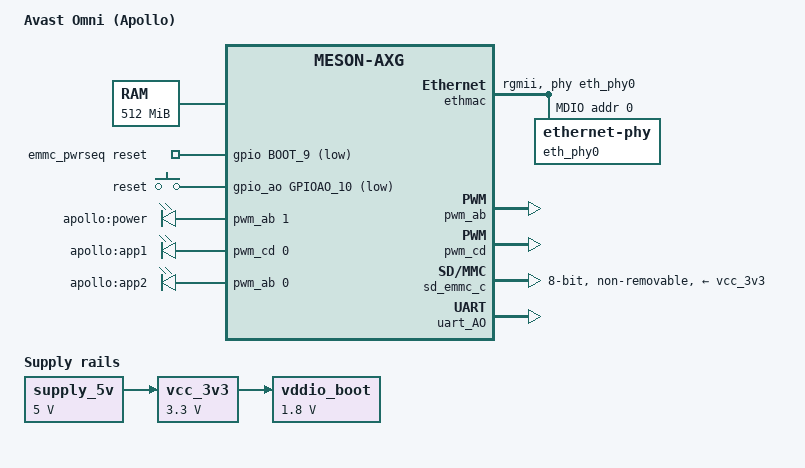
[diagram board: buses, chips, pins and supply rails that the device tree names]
// SPDX-License-Identifier: (GPL-2.0+ OR MIT)
/*
 * Avast Omni  --  Amlogic A113D (meson-axg), 512 MiB, eMMC, 1x RGMII GbE.
 *
 * Copyright (c) 2018 BayLibre SAS.  All rights reserved.
 * Copyright (c) 2019 Avast Software s.r.o.
 * Copyright (c) 2026 Omni firmware maintainers.
 *
 * Mainline (v6.12+) port of the downstream 5.4 vendor DTS that lived in
 * meta-apollo as recipes-kernel/linux/files/0001..0014.  The port folds in:
 *
 *   0001  the board itself (derived from meson-axg-s400.dts)
 *   0002  eMMC max-frequency 180 MHz -> 200 MHz
 *   0003  RTL8211F PHY interrupt on gpio_intc line 98
 *   0004  drop the "-evt0" suffix (board name / compatible)
 *   0012  pstore/ramoops reservation
 *
 * and deliberately DROPS:
 *
 *   0005  "DOWNSTREAM: apollo: leds: Set initial brightness level" -- it added
 *         a non-standard "brightness" property plus a driver hack in
 *         leds-pwm.c / include/linux/leds_pwm.h.  leds_pwm.h no longer exists
 *         upstream.  The mainline equivalent is default-state = "on", which
 *         leds-pwm.c honours via led_init_default_state_get() (v6.12,
 *         drivers/leds/leds-pwm.c:164) by seeding cdev.brightness with
 *         max-brightness before the first led_pwm_set().
 *   0006/0014  snps,force_thresh_dma_mode / snps,pbl / rx-fifo-depth /
 *         tx-fifo-depth on &ethmac.  snps,pbl was written as a *string*
 *         ("32") but stmmac reads it with of_property_read_u32(), so it never
 *         took effect at all; and mainline meson-axg.dtsi already carries the
 *         identical rx-fifo-depth = <4096> / tx-fifo-depth = <2048> on the
 *         &ethmac node itself (v6.12 meson-axg.dtsi:291-292).  Re-adding them
 *         here would be a no-op at best and a divergence to maintain at worst.
 *
 * Boot contract (do not break):  U-Boot 2018.09 + Mender A/B loads
 * /boot/Image, /boot/meson-axg-apollo.dtb and the initramfs from *inside* the
 * selected rootfs slot, so this file MUST keep producing a DTB named
 * meson-axg-apollo.dtb (mender_dtb_name).  Renaming the file renames the DTB
 * and bricks both slots.
 */

/dts-v1/;

#include "meson-axg.dtsi"

/*
 * meson-axg.dtsi already pulls in gpio.h, meson-axg-gpio.h and irq.h, but
 * every macro used below is spelled out here so this file stands on its own
 * and so a future dtsi refactor cannot silently remove a definition.
 */
#include <dt-bindings/gpio/gpio.h>		/* GPIO_ACTIVE_LOW */
#include <dt-bindings/gpio/meson-axg-gpio.h>	/* BOOT_9, GPIOAO_10 */
#include <dt-bindings/input/input.h>		/* KEY_RESTART */
#include <dt-bindings/interrupt-controller/irq.h>/* IRQ_TYPE_LEVEL_LOW */
#include <dt-bindings/thermal/thermal.h>	/* THERMAL_NO_LIMIT */

/ {
	compatible = "avast,apollo", "amlogic,a113d", "amlogic,meson-axg";
	model = "Avast Omni (Apollo)";

	aliases {
		serial0 = &uart_AO;

		/*
		 * ethernet0 is LOAD-BEARING.  Two independent consumers:
		 *
		 *  1. U-Boot's fdt_fixup_ethernet() walks /aliases looking for
		 *     "ethernetN" and injects ${ethaddr} into that node as
		 *     local-mac-address / mac-address.  The stored ethaddr is
		 *     the only copy of this unit's MAC (the check_env self-heal
		 *     in the vendor U-Boot is dead code), and
		 *     CONFIG_NET_RANDOM_ETHADDR means losing it gives a fresh
		 *     random MAC every boot.  Drop this alias and the MAC stops
		 *     being injected.
		 *
		 *  2. systemd-udevd's DT-based interface naming (net naming
		 *     scheme v251+) reads the same alias, which is why the NIC
		 *     comes up as "end0" on Debian trixie instead of the "eth0"
		 *     that Yocto/systemd 250 produced.  That rename is expected
		 *     -- handle it in userland (.link file / Name=e*), never by
		 *     removing this alias.
		 */
		ethernet0 = &ethmac;
	};

	chosen {
		stdout-path = "serial0:115200n8";
	};

	memory@0 {
		device_type = "memory";
		reg = <0x0 0x0 0x0 0x20000000>;	/* 512 MiB */
	};

	reserved-memory {
		/*
		 * Same cell layout as the reserved-memory node in
		 * meson-axg.dtsi (v6.12:139-155); restated so this fragment is
		 * readable on its own.  dtc merges it with the dtsi node.
		 */
		#address-cells = <2>;
		#size-cells = <2>;
		ranges;

		/*
		 * pstore/ramoops backing store (was patch 0012).
		 *
		 * The downstream node was named ramoops@f9800000 while its reg
		 * said 0x0f400000 -- the name was simply wrong (and collided,
		 * by name, with the pcieA@f9800000 address).  Renamed to match
		 * the reg, which is what the unit-address is *for*.
		 *
		 * Deliberately NOT "no-map": ramoops persists a kernel log
		 * across a reset by writing to this RAM with memcpy from the
		 * linear map.  no-map would remove it from the kernel's direct
		 * mapping and ramoops would then have to ioremap it as device
		 * memory; on arm64 unaligned/ordering behaviour there differs
		 * and the region must stay normal cached memory.  Not
		 * "reusable" either -- that is a CMA-style property and would
		 * let the page allocator hand this range out.
		 *
		 * 0x0f400000 + 0x10000 = 0x0f410000, comfortably inside the
		 * 512 MiB of DRAM and clear of hwrom@0 (0..0x1000000) and
		 * secmon@5000000 (0x5000000..0x5300000).
		 */
		ramoops@f400000 {
			compatible = "ramoops";
			reg = <0x0 0x0f400000 0x0 0x10000>;
			record-size = <0x4000>;
			console-size = <0x0>;
		};
	};

	emmc_pwrseq: emmc-pwrseq {
		compatible = "mmc-pwrseq-emmc";
		reset-gpios = <&gpio BOOT_9 GPIO_ACTIVE_LOW>;
	};

	/*
	 * Recovery / factory-reset button.
	 *
	 * "gpio-keys-polled", NOT "gpio-keys", and that is not a style choice:
	 *
	 *  - drivers/pinctrl/meson/pinctrl-meson.c never populates
	 *    gpio_chip.to_irq and never registers a gpio_irq_chip, so
	 *    gpiod_to_irq() on any &gpio / &gpio_ao line returns -ENXIO
	 *    (drivers/gpio/gpiolib.c:3655-3673, v6.12).  Plain gpio-keys with
	 *    only a "gpios" property therefore fails to probe with
	 *    "Unable to get irq number for GPIO".
	 *
	 *  - Adding interrupt-parent/interrupts does not rescue it either:
	 *    gpio_keys_setup_key() unconditionally requests
	 *    IRQF_TRIGGER_RISING | IRQF_TRIGGER_FALLING whenever a gpiod is
	 *    present (drivers/input/keyboard/gpio_keys.c:600), i.e.
	 *    IRQ_TYPE_EDGE_BOTH, and meson8_gpio_irq_set_type() rejects
	 *    EDGE_BOTH with -EINVAL because axg_params has
	 *    support_edge_both = false (drivers/irqchip/irq-meson-gpio.c:135,
	 *    :322-324).  request_irq() then fails.
	 *
	 * That is exactly why every mainline Amlogic board (khadas-vim,
	 * khadas-vim2/3, radxa-zero2, ...) uses gpio-keys-polled for its
	 * button.  Armbian's meson64 config ships CONFIG_KEYBOARD_GPIO_POLLED=y.
	 *
	 * If an interrupt-driven button is ever actually needed, the working
	 * form is a child with NO "gpios" and only
	 *     interrupt-parent = <&gpio_intc>;
	 *     interrupts = <10 IRQ_TYPE_EDGE_FALLING>;
	 * (hwirq 10 == GPIOAO_10: pinctrl-meson-axg.c:1017 declares
	 * BANK("AO", GPIOAO_0, GPIOAO_13, 0, 13, ...), i.e. irq_first = 0).
	 * That path reports press-with-auto-release and cannot read the pin.
	 *
	 * Note this button is *also* sampled by U-Boot directly from the pad
	 * register (setexpr button *0xff800028 & 0x400) before Linux runs, to
	 * divert the boot to the p7 recovery slot.  Nothing Linux does here
	 * affects that.
	 */
	gpio-keys-polled {
		compatible = "gpio-keys-polled";
		poll-interval = <100>;

		button-reset {
			label = "reset";
			linux,code = <KEY_RESTART>;
			gpios = <&gpio_ao GPIOAO_10 GPIO_ACTIVE_LOW>;
			debounce-interval = <50>;
		};
	};

	/*
	 * Front-panel LEDs.
	 *
	 * The three "label" strings are an ABI, not decoration: the initramfs
	 * and the userland both poke
	 *   /sys/class/leds/apollo:power/brightness
	 *   /sys/class/leds/apollo:app1/brightness
	 *   /sys/class/leds/apollo:app2/brightness
	 * led_compose_name() copies props.label verbatim when no devicename is
	 * supplied (leds-pwm passes init_data.fwnode only), so switching to the
	 * modern function/color properties WOULD RENAME THOSE SYSFS PATHS.
	 * Keep the labels exactly as-is.
	 *
	 * Child node names are led-0/1/2 because leds-pwm.yaml constrains them
	 * to "^led(-[0-9a-f]+)?$"; the node name is unused at runtime whenever
	 * "label" is present (drivers/leds/leds-pwm.c:150-152).
	 *
	 * max-brightness is mandatory here, not optional: led_pwm_set() does
	 * do_div(duty, cdev.max_brightness) and leds-pwm defaults it to 0.
	 *
	 * default-brightness = <N> is NOT available on 6.12 (it landed in
	 * 6.13); default-state = "on" is the 6.12 way to have the power LED lit
	 * from probe onwards instead of glitching off until userland writes
	 * brightness.  app1/app2 stay dark until something asks for them.
	 *
	 * 7812500 ns == 128 Hz, carried over verbatim from the vendor DTS.  On
	 * 6.12 the PWM node is still the old "amlogic,meson-axg-ee-pwm" binding
	 * (no clocks property); 6.18 has the meson-axg-pwm-v2 rewrite.
	 * #pwm-cells is 3 on both, so these phandles parse either way, but the
	 * achieved period is worth re-measuring after any branch bump.
	 */
	led-controller {
		compatible = "pwm-leds";

		led-0 {
			label = "apollo:power";
			pwms = <&pwm_ab 1 7812500 0>;
			max-brightness = <255>;
			default-state = "on";
		};

		led-1 {
			label = "apollo:app1";
			pwms = <&pwm_cd 0 7812500 0>;
			max-brightness = <255>;
		};

		led-2 {
			label = "apollo:app2";
			pwms = <&pwm_ab 0 7812500 0>;
			max-brightness = <255>;
		};
	};

	/*
	 * Fixed-regulator chain, unchanged from the vendor DTS:
	 *   5V -> VCC_3V3 -> VDDIO_BOOT (1.8 V)
	 * VCC_3V3 is the eMMC card supply (vmmc), VDDIO_BOOT the eMMC I/O
	 * supply (vqmmc) -- 1.8 V is what makes mmc-ddr-1_8v / mmc-hs200-1_8v
	 * legal.  Node names hyphenated to match mainline style; the labels are
	 * unchanged because they are what &sd_emmc_c references.
	 */
	supply_5v: regulator-supply-5v {
		compatible = "regulator-fixed";
		regulator-name = "5V";
		regulator-min-microvolt = <5000000>;
		regulator-max-microvolt = <5000000>;
		regulator-always-on;
	};

	vcc_3v3: regulator-vcc-3v3 {
		compatible = "regulator-fixed";
		regulator-name = "VCC_3V3";
		regulator-min-microvolt = <3300000>;
		regulator-max-microvolt = <3300000>;
		vin-supply = <&supply_5v>;
		regulator-always-on;
	};

	vddio_boot: regulator-vddio-boot {
		compatible = "regulator-fixed";
		regulator-name = "VDDIO_BOOT";
		regulator-min-microvolt = <1800000>;
		regulator-max-microvolt = <1800000>;
		vin-supply = <&vcc_3v3>;
		regulator-always-on;
	};

	/*
	 * Thermal management -- NEW, the Omni has none today.
	 *
	 * meson-axg.dtsi (v6.12) defines scpi_sensors with
	 * #thermal-sensor-cells = <1> but no thermal-zones node at all, so this
	 * defines cpu_thermal from scratch rather than adding trips to an
	 * existing zone.  Values and structure lifted from
	 * meson-axg-jethome-jethub-j1xx.dtsi:114-157, the only mainline AXG
	 * board with thermal-zones.
	 *
	 * passive 70 C  -> cpufreq throttling via the cpu#-cooling-cells
	 * hot     80 C  -> notification only
	 * critical 100 C -> orderly shutdown by the thermal core
	 *
	 * Needs CONFIG_CPU_THERMAL (Armbian meson64: =y) and a working SCPI
	 * sensor.  If the SCP firmware on this unit does not export sensor 0
	 * the zone simply fails to register and logs; it cannot wedge the boot.
	 * Confirm on serial in Phase 5 with
	 *   cat /sys/class/thermal/thermal_zone0/{type,temp}
	 */
	thermal-zones {
		cpu_thermal: cpu-thermal {
			polling-delay-passive = <250>;
			polling-delay = <1000>;
			thermal-sensors = <&scpi_sensors 0>;

			trips {
				cpu_passive: cpu-passive {
					temperature = <70000>;	/* millicelsius */
					hysteresis = <2000>;	/* millicelsius */
					type = "passive";
				};

				cpu_hot: cpu-hot {
					temperature = <80000>;	/* millicelsius */
					hysteresis = <2000>;	/* millicelsius */
					type = "hot";
				};

				cpu_critical: cpu-critical {
					temperature = <100000>;	/* millicelsius */
					hysteresis = <2000>;	/* millicelsius */
					type = "critical";
				};
			};

			cpu_cooling_maps: cooling-maps {
				map0 {
					trip = <&cpu_passive>;
					cooling-device = <&cpu0 THERMAL_NO_LIMIT THERMAL_NO_LIMIT>,
							 <&cpu1 THERMAL_NO_LIMIT THERMAL_NO_LIMIT>,
							 <&cpu2 THERMAL_NO_LIMIT THERMAL_NO_LIMIT>,
							 <&cpu3 THERMAL_NO_LIMIT THERMAL_NO_LIMIT>;
				};

				map1 {
					trip = <&cpu_hot>;
					cooling-device = <&cpu0 THERMAL_NO_LIMIT THERMAL_NO_LIMIT>,
							 <&cpu1 THERMAL_NO_LIMIT THERMAL_NO_LIMIT>,
							 <&cpu2 THERMAL_NO_LIMIT THERMAL_NO_LIMIT>,
							 <&cpu3 THERMAL_NO_LIMIT THERMAL_NO_LIMIT>;
				};
			};
		};
	};
};

/*
 * Gigabit Ethernet.  Byte-for-byte the meson-axg-s400.dts &ethmac node (same
 * RGMII-on-Y pinout, same RTL8211F at MDIO address 0), which is what the
 * vendor DTS was a copy of.
 *
 * rx-fifo-depth / tx-fifo-depth are intentionally absent: meson-axg.dtsi
 * already sets them to 4096 / 2048 on this very node, which is what stmmac
 * feeds into plat->rx_fifo_size and what gates TSO.  Repeating them here only
 * creates a second place to get them wrong.
 *
 * !!! phy-mode: RGMII DELAY CAVEAT -- resolve in Phase 5 before this DTS is
 * !!! declared final.
 *
 * 5.4's rtl8211f_config_init() programmed only the TX delay (paged register
 * 0xd08 reg 17 bit 8) and left the RX delay (0xd08 reg 21 bit 3) at whatever
 * the PHY strapped/retained.  Mainline programs BOTH from phy-mode, so
 * phy-mode = "rgmii" will actively CLEAR an RX delay that the working 5.4
 * system may have been relying on.  The failure mode is not "no link" -- it is
 * asymmetric packet loss that TCP hides in an aggregate iperf3 number.
 *
 * Procedure (plan Phase 5): with the PHY powered and linked, read page 0xd08
 * registers 17 and 21 on the 5.4 kernel, then on 6.12 with this DTS, using
 * cold power cycles (mains removed >= 10 s) between boots because the paged
 * registers persist across a warm reset.  If 6.12 shows RX delay cleared where
 * 5.4 had it set, change this to:
 *
 *     phy-mode = "rgmii-rxid";
 *
 * and re-run the per-direction iperf3 comparison.  Do not "fix" it by
 * eyeballing throughput.
 */
&ethmac {
	status = "okay";
	pinctrl-0 = <&eth_rgmii_y_pins>;
	pinctrl-names = "default";
	phy-handle = <&eth_phy0>;
	phy-mode = "rgmii";

	mdio {
		compatible = "snps,dwmac-mdio";
		#address-cells = <1>;
		#size-cells = <0>;

		eth_phy0: ethernet-phy@0 {
			/* Realtek RTL8211F (0x001cc916) -- needs REALTEK_PHY */
			reg = <0>;
			interrupt-parent = <&gpio_intc>;
			/*
			 * gpio_intc hwirq 98 == GPIOY_14: pinctrl-meson-axg.c
			 * :1012 declares BANK("Y", GPIOY_0, GPIOY_15, 84, 99),
			 * so irq_first 84 + 14 = 98.  GPIOY_0..GPIOY_13 are the
			 * RGMII bus itself, GPIOY_14 is the spare pad next to
			 * it -- consistent with the PHY INTB line.
			 *
			 * Phase 4 gate: 20 cable pulls must each bump this
			 * line's count in /proc/interrupts.  If the count stays
			 * 0 the interrupt is decorative and phylib is polling.
			 */
			interrupts = <98 IRQ_TYPE_LEVEL_LOW>;
			eee-broken-1000t;
		};
	};
};

/*
 * MANDATORY.  Mainline gained nand-controller@7800 after the 5.4 vendor tree
 * forked, and it has NO status property, i.e. it defaults to "okay".  Its
 * second reg window is reg-names = "emmc" at 0x7800+... -> 0x7000 length 0x800,
 * which IS &sd_emmc_c's register block, and its pinctrl-0 = <&nand_all_pins>
 * claims emmc_nand_d0..d7 -- the same pads as &emmc_pins.
 *
 * Armbian's meson64 config ships CONFIG_MTD_NAND_MESON=m, so meson_nand exists
 * and will bind.  There is no NAND on this board; leaving it enabled is a race
 * for the eMMC pads and registers.  Belt and braces in the kernel config delta:
 * CONFIG_MTD_NAND_MESON=n plus MODULES_BLACKLIST="meson_nand".
 */
&nfc {
	status = "disabled";
};

&pwm_ab {
	status = "okay";
	pinctrl-0 = <&pwm_a_a_pins>, <&pwm_b_a_pins>;
	pinctrl-names = "default";
};

&pwm_cd {
	status = "okay";
	pinctrl-0 = <&pwm_c_a_pins>;
	pinctrl-names = "default";
};

/*
 * eMMC.  This is the root device for BOTH A/B slots plus /data and recovery;
 * every property here is a byte-for-byte carry-over of the 5.4 configuration
 * that is known to work on this hardware (0001 + 0002).
 *
 * Deliberate deviation from meson-axg-s400.dts / jethub-j1xx.dtsi: they use
 *     pinctrl-0 = <&emmc_pins>, <&emmc_ds_pins>;
 * and this board uses <&emmc_pins> alone.  emmc_ds is the HS400 data strobe;
 * this board only advertises mmc-hs200-1_8v, so DS is never driven, and
 * muxing BOOT_14 to the eMMC function would be an unverified pad change on a
 * device that cannot be recovered remotely.  Revisit only with a serial
 * console attached and a reason.
 *
 * mmc-pwrseq-emmc toggles BOOT_9 (reset) at probe and, importantly, before a
 * reboot.  A pad-numbering mistake here is invisible on a cold boot and only
 * shows up as an intermittent failure to mount root on a warm reboot -- hence
 * the 50-consecutive-warm-reboot item in the Phase 4 gate.
 */
&sd_emmc_c {
	status = "okay";
	pinctrl-0 = <&emmc_pins>;
	pinctrl-1 = <&emmc_clk_gate_pins>;
	pinctrl-names = "default", "clk-gate";

	bus-width = <8>;
	cap-mmc-highspeed;
	max-frequency = <200000000>;
	non-removable;
	disable-wp;
	mmc-ddr-1_8v;
	mmc-hs200-1_8v;

	mmc-pwrseq = <&emmc_pwrseq>;

	vmmc-supply = <&vcc_3v3>;
	vqmmc-supply = <&vddio_boot>;
};

/* Serial console, ttyAML0.  The only out-of-band access this box has. */
&uart_AO {
	status = "okay";
	pinctrl-0 = <&uart_ao_a_pins>;
	pinctrl-names = "default";
};
